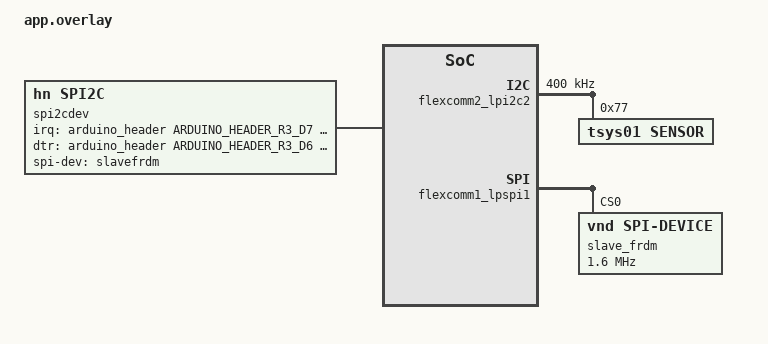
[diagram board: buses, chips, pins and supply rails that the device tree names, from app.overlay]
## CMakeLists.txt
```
cmake_minimum_required(VERSION 3.20.0)
find_package(Zephyr REQUIRED HINTS $ENV{ZEPHYR_BASE})
project(slave-dev)

target_sources(app PRIVATE src/main.c)
```

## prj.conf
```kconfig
CONFIG_HN_SPI2C=y
CONFIG_SPI=y
CONFIG_I2C=y
CONFIG_SPI_NXP_LPSPI=y
CONFIG_SPI_NXP_LPSPI_DMA=n
CONFIG_SPI_ASYNC=y
CONFIG_TSYS01_SENSOR=y
CONFIG_SPI_SLAVE=y
CONFIG_GPIO=y
CONFIG_PRINTK=y
CONFIG_LOG=y
CONFIG_LOG_DEFAULT_LEVEL=3
CONFIG_DEBUG_THREAD_INFO=y
CONFIG_THREAD_NAME=y
CONFIG_THREAD_MONITOR=y
CONFIG_MAIN_STACK_SIZE=8192
```

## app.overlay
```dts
&flexcomm2_lpi2c2 {
    status = "okay";
    clock-frequency = <I2C_BITRATE_FAST>;
    tsys01: tsys01@77 {
	compatible = "tsys01,sensor";
	dev-address = <10>;
        reg = <0x77>;
        status = "okay";
    };
};

&flexcomm1_lpspi1 {
	transfer-delay = <100>;
	sck-pcs-delay = <200>;
	pcs-sck-delay = <200>;
	slavefrdm: slavefrdm@0 {
		compatible = "vnd,spi-device";
		reg = <0>;
		spi-max-frequency = <1600000>;
		label = "slave_frdm";
	};
};

&flexcomm1 {
	interrupts = <36 1>;
};

/ {
	spi2cdev: spi2cdev {
		compatible = "hn,spi2c";
		custom-devs = <&tsys01>;
		irq-gpios = <&arduino_header ARDUINO_HEADER_R3_D7 GPIO_ACTIVE_LOW>;
		dtr-gpios = <&arduino_header ARDUINO_HEADER_R3_D6 GPIO_ACTIVE_LOW>;
		spi-dev = <&slavefrdm>;
	};
};
```

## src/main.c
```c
#include <zephyr/device.h>
#include <zephyr/devicetree.h>
#include <zephyr/kernel.h>
#include <spi2c/spi2c-com.h>

const struct device* dev = DEVICE_DT_GET(DT_NODELABEL(spi2cdev));

int main(void) {
	int ret = spi2c_begin_com(dev);
	printk("struct size: %d\n", sizeof(struct packet));
	printk("%d", ret);
	for (;;) { k_msleep(1000); }
	return 0;
}
```
